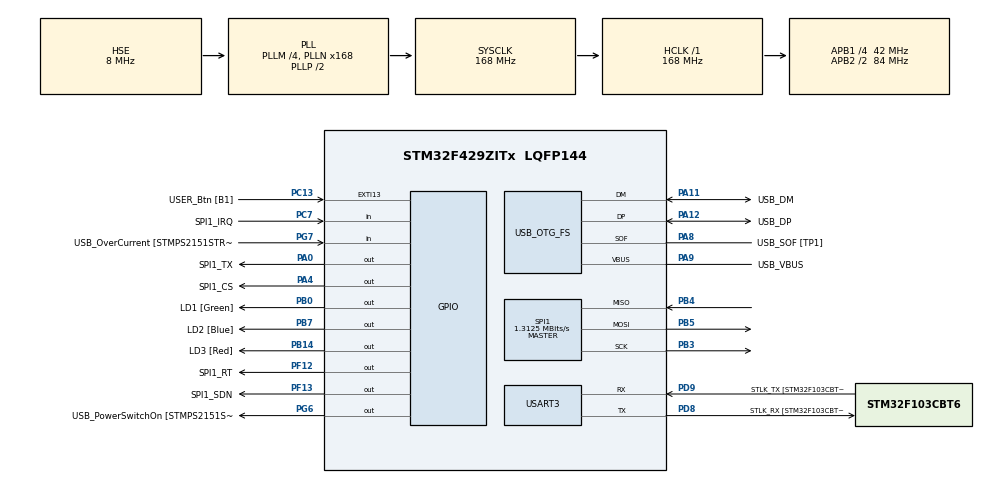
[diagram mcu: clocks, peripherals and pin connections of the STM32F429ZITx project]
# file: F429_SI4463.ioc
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Mcu.Family=STM32F4
Mcu.Name=STM32F429ZITx
Mcu.Package=LQFP144
NVIC.PriorityGroup=NVIC_PRIORITYGROUP_4
NVIC.TIM1_UP_TIM10_IRQn=true\:0\:0\:false\:false\:true\:true\:true\:true
PA0/WKUP.GPIO_Label=SPI1_TX
PA0/WKUP.Signal=GPIO_Output
PA10.GPIO_Label=USB_ID
PA10.Signal=USB_OTG_FS_ID
PA11.GPIO_Label=USB_DM
PA11.Mode=Device_Only
PA11.Signal=USB_OTG_FS_DM
PA12.GPIO_Label=USB_DP
PA12.Mode=Device_Only
PA12.Signal=USB_OTG_FS_DP
PA13.GPIO_Label=TMS
PA13.Mode=Serial_Wire
PA13.Signal=SYS_JTMS-SWDIO
PA14.GPIO_Label=TCK
PA14.Mode=Serial_Wire
PA14.Signal=SYS_JTCK-SWCLK
PA4.GPIO_Label=SPI1_CS
PA4.Signal=GPIO_Output
PA8.GPIO_Label=USB_SOF [TP1]
PA8.Mode=Activate_SOF_FS
PA8.Signal=USB_OTG_FS_SOF
PA9.GPIO_Label=USB_VBUS
PA9.Mode=Activate_VBUS
PA9.Signal=USB_OTG_FS_VBUS
PB0.GPIO_Label=LD1 [Green]
PB0.Signal=GPIO_Output
PB14.GPIO_Label=LD3 [Red]
PB14.Signal=GPIO_Output
PB3.Mode=Full_Duplex_Master
PB3.Signal=SPI1_SCK
PB4.Mode=Full_Duplex_Master
PB4.Signal=SPI1_MISO
PB5.Mode=Full_Duplex_Master
PB5.Signal=SPI1_MOSI
PB7.GPIO_Label=LD2 [Blue]
PB7.Signal=GPIO_Output
PC13.GPIO_Label=USER_Btn [B1]
PC13.Signal=GPXTI13
PC14/OSC32_IN.Mode=LSE-External-Oscillator
PC14/OSC32_IN.Signal=RCC_OSC32_IN
PC15/OSC32_OUT.Mode=LSE-External-Oscillator
PC15/OSC32_OUT.Signal=RCC_OSC32_OUT
PC7.GPIO_Label=SPI1_IRQ
PC7.GPIO_PuPd=GPIO_NOPULL
PC7.Signal=GPIO_Input
PD8.GPIO_Label=STLK_RX [STM32F103CBT6_PA3]
PD8.Mode=Asynchronous
PD8.Signal=USART3_TX
PD9.GPIO_Label=STLK_TX [STM32F103CBT6_PA2]
PD9.Mode=Asynchronous
PD9.Signal=USART3_RX
PF12.GPIO_Label=SPI1_RT
PF12.Signal=GPIO_Output
PF13.GPIO_Label=SPI1_SDN
PF13.Signal=GPIO_Output
PG6.GPIO_Label=USB_PowerSwitchOn [STMPS2151STR_EN]
PG6.Signal=GPIO_Output
PG7.GPIO_Label=USB_OverCurrent [STMPS2151STR_FAULT]
PG7.Signal=GPIO_Input
PH0/OSC_IN.GPIO_Label=MCO [STM32F103CBT6_PA8]
PH0/OSC_IN.Mode=HSE-External-Clock-Source
PH0/OSC_IN.Signal=RCC_OSC_IN
PH1/OSC_OUT.Mode=HSE-External-Clock-Source
PH1/OSC_OUT.Signal=RCC_OSC_OUT
ProjectManager.HeapSize=0x200
ProjectManager.StackSize=0x400
ProjectManager.TargetToolchain=STM32CubeIDE
RCC.48MHZClocksFreq_Value=48000000
RCC.AHBFreq_Value=168000000
RCC.APB1CLKDivider=RCC_HCLK_DIV4
RCC.APB1Freq_Value=42000000
RCC.APB1TimFreq_Value=84000000
RCC.APB2CLKDivider=RCC_HCLK_DIV2
RCC.APB2Freq_Value=84000000
RCC.APB2TimCLKDivider=2
RCC.APB2TimFreq_Value=168000000
RCC.CortexFreq_Value=168000000
RCC.HCLKFreq_Value=168000000
RCC.HSE_VALUE=8000000
RCC.HSI_VALUE=16000000
RCC.PLLM=4
RCC.PLLMUL=RCC_PLL_MUL9
RCC.PLLN=168
RCC.PLLQ=7
RCC.PRESCALERUSB=RCC_USBCLKSOURCE_PLL_DIV1_5
RCC.SYSCLKFreq_VALUE=168000000
RCC.SYSCLKSource=RCC_SYSCLKSOURCE_PLLCLK
RCC.SYSCLKSourceVirtual=RCC_SYSCLKSOURCE_PLLCLK
RCC.USBFreq_Value=48000000
RCC.VCOOutputFreq_Value=336000000
SPI1.BaudRatePrescaler=SPI_BAUDRATEPRESCALER_64
SPI1.CLKPhase=SPI_PHASE_1EDGE
SPI1.CLKPolarity=SPI_POLARITY_LOW
SPI1.CalculateBaudRate=1.3125 MBits/s
SPI1.Direction=SPI_DIRECTION_2LINES
SPI1.Mode=SPI_MODE_MASTER
SPI1.VirtualType=VM_MASTER
TIM1.Period=1000-1
TIM1.Prescaler=8400-1
USART3.VirtualMode=VM_ASYNC
USB_OTG_FS.VirtualMode=Device_Only
VP_TIM1_VS_ClockSourceINT.Mode=Internal
board=NUCLEO-F429ZI

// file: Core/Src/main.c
/* USER CODE BEGIN Header */
/**
 ******************************************************************************
 * @file           : main.c
 * @brief          : Main program body
 ******************************************************************************
 * @attention
 *
 * Copyright (c) 2022 STMicroelectronics.
 * All rights reserved.
 *
 * This software is licensed under terms that can be found in the LICENSE file
 * in the root directory of this software component.
 * If no LICENSE file comes with this software, it is provided AS-IS.
 *
 ******************************************************************************
 */
/* USER CODE END Header */
#include "main.h"

/* USER CODE BEGIN Includes */

#include "si4463.h"

/* USER CODE END Includes */

SPI_HandleTypeDef hspi1;

TIM_HandleTypeDef htim1;

UART_HandleTypeDef huart3;

PCD_HandleTypeDef hpcd_USB_OTG_FS;

void SystemClock_Config(void);
static void MX_GPIO_Init(void);
static void MX_USART3_UART_Init(void);
static void MX_USB_OTG_FS_PCD_Init(void);
static void MX_SPI1_Init(void);
static void MX_TIM1_Init(void);

/* USER CODE BEGIN 0 */

uint32_t adcVal = 0;
uint32_t gotData = 0;
uint8_t rxData[8] = { 0 };

/* USER CODE END 0 */

int main(void) {

    /* MCU Configuration--------------------------------------------------------*/

    /* Reset of all peripherals, Initializes the Flash interface and the Systick. */
    HAL_Init();

    /* Configure the system clock */
    SystemClock_Config();

    /* Initialize all configured peripherals */
    MX_GPIO_Init();
    MX_USART3_UART_Init();
    MX_USB_OTG_FS_PCD_Init();
    MX_SPI1_Init();
    MX_TIM1_Init();
    /* USER CODE BEGIN 2 */

    uint8_t data[] = "**** \r\n 1,2.3--mini--salamini--desinas--1.2,3 \r\n ";
    uint8_t txData[8] = "test1234";
    uint8_t cmd;

    // define SI4463 handle
    SI4463_StatusTypeDef retVal;
    SI4463_Handle SI4463_Handle = { 0 };

    // configure handle
    SI4463_Handle.spi = &hspi1;
    SI4463_Handle.SDNPort = SPI1_SDN_GPIO_Port;
    SI4463_Handle.SDNPin = SPI1_SDN_Pin;
    SI4463_Handle.CSPort = SPI1_CS_GPIO_Port;
    SI4463_Handle.CSPin = SPI1_CS_Pin;
    SI4463_Handle.GPIO0_Port = SPI1_RT_GPIO_Port;   // required for RTTY only
    SI4463_Handle.GPIO0_Pin = SPI1_RT_Pin;
    SI4463_Handle.freq = SI4463_FREQ_26MHZ;     // change to XIN frequency
    SI4463_Handle.baudDelay = 20;
    SI4463_Handle.power = 0;

    // RTTY 433,3 MHz
    // FSK 433,3 MHz
    // FSK has fixed 8 byte payload, for now
    // FSK uses internal CRC

    /* USER CODE END 2 */

    /* Infinite loop */
    /* USER CODE BEGIN WHILE */

    while (1) {

        // set required config (SI4463_CONFIG_RTTY for RTTY or SI4463_CONFIG_FSK for FSK or make your own)

        // set RTTY config
        SI4463_Handle.config = SI4463_CONFIG_RTTY;
        // try to initialise device
        retVal = SI4463_Init(&SI4463_Handle);
        // check if was able to initialise device
        if (retVal != SI4463_OK) {
            while (1);
        }
        // Send RTTY data
        SI4463_Transmit_RTTY(&SI4463_Handle, data, sizeof(data));

        HAL_Delay(500);

        // set FSK
        SI4463_Handle.config = SI4463_CONFIG_FSK;
        // reconfigure device
        retVal = SI4463_Init(&SI4463_Handle);
        // check if was successful
        if (retVal != SI4463_OK) {
            while (1);
        }

        // Send FSK data
        SI4463_Transmit_FSK(&SI4463_Handle, txData, 8, 100);

        HAL_Delay(500);

        // Receive FSK data
        SI4463_Receive_FSK(&SI4463_Handle, txData, 8, 100);

        HAL_Delay(500);

        /* USER CODE END WHILE */

    }
}

void SystemClock_Config(void) {
    RCC_OscInitTypeDef RCC_OscInitStruct = { 0 };
    RCC_ClkInitTypeDef RCC_ClkInitStruct = { 0 };

    /** Configure the main internal regulator output voltage
     */
    __HAL_RCC_PWR_CLK_ENABLE();
    __HAL_PWR_VOLTAGESCALING_CONFIG(PWR_REGULATOR_VOLTAGE_SCALE1);

    /** Initializes the RCC Oscillators according to the specified parameters
     * in the RCC_OscInitTypeDef structure.
     */
    RCC_OscInitStruct.OscillatorType = RCC_OSCILLATORTYPE_HSE;
    RCC_OscInitStruct.HSEState = RCC_HSE_BYPASS;
    RCC_OscInitStruct.PLL.PLLState = RCC_PLL_ON;
    RCC_OscInitStruct.PLL.PLLSource = RCC_PLLSOURCE_HSE;
    RCC_OscInitStruct.PLL.PLLM = 4;
    RCC_OscInitStruct.PLL.PLLN = 168;
    RCC_OscInitStruct.PLL.PLLP = RCC_PLLP_DIV2;
    RCC_OscInitStruct.PLL.PLLQ = 7;
    if (HAL_RCC_OscConfig(&RCC_OscInitStruct) != HAL_OK) {
        Error_Handler();
    }

    /** Initializes the CPU, AHB and APB buses clocks
     */
    RCC_ClkInitStruct.ClockType = RCC_CLOCKTYPE_HCLK | RCC_CLOCKTYPE_SYSCLK | RCC_CLOCKTYPE_PCLK1 | RCC_CLOCKTYPE_PCLK2;
    RCC_ClkInitStruct.SYSCLKSource = RCC_SYSCLKSOURCE_PLLCLK;
    RCC_ClkInitStruct.AHBCLKDivider = RCC_SYSCLK_DIV1;
    RCC_ClkInitStruct.APB1CLKDivider = RCC_HCLK_DIV4;
    RCC_ClkInitStruct.APB2CLKDivider = RCC_HCLK_DIV2;

    if (HAL_RCC_ClockConfig(&RCC_ClkInitStruct, FLASH_LATENCY_5) != HAL_OK) {
        Error_Handler();
    }
}

static void MX_SPI1_Init(void) {

    /* SPI1 parameter configuration*/
    hspi1.Instance = SPI1;
    hspi1.Init.Mode = SPI_MODE_MASTER;
    hspi1.Init.Direction = SPI_DIRECTION_2LINES;
    hspi1.Init.DataSize = SPI_DATASIZE_8BIT;
    hspi1.Init.CLKPolarity = SPI_POLARITY_LOW;
    hspi1.Init.CLKPhase = SPI_PHASE_1EDGE;
    hspi1.Init.NSS = SPI_NSS_SOFT;
    hspi1.Init.BaudRatePrescaler = SPI_BAUDRATEPRESCALER_64;
    hspi1.Init.FirstBit = SPI_FIRSTBIT_MSB;
    hspi1.Init.TIMode = SPI_TIMODE_DISABLE;
    hspi1.Init.CRCCalculation = SPI_CRCCALCULATION_DISABLE;
    hspi1.Init.CRCPolynomial = 10;
    if (HAL_SPI_Init(&hspi1) != HAL_OK) {
        Error_Handler();
    }

}

static void MX_TIM1_Init(void) {

    TIM_ClockConfigTypeDef sClockSourceConfig = { 0 };
    TIM_MasterConfigTypeDef sMasterConfig = { 0 };

    htim1.Instance = TIM1;
    htim1.Init.Prescaler = 8400 - 1;
    htim1.Init.CounterMode = TIM_COUNTERMODE_UP;
    htim1.Init.Period = 1000 - 1;
    htim1.Init.ClockDivision = TIM_CLOCKDIVISION_DIV1;
    htim1.Init.RepetitionCounter = 0;
    htim1.Init.AutoReloadPreload = TIM_AUTORELOAD_PRELOAD_DISABLE;
    if (HAL_TIM_Base_Init(&htim1) != HAL_OK) {
        Error_Handler();
    }
    sClockSourceConfig.ClockSource = TIM_CLOCKSOURCE_INTERNAL;
    if (HAL_TIM_ConfigClockSource(&htim1, &sClockSourceConfig) != HAL_OK) {
        Error_Handler();
    }
    sMasterConfig.MasterOutputTrigger = TIM_TRGO_RESET;
    sMasterConfig.MasterSlaveMode = TIM_MASTERSLAVEMODE_DISABLE;
    if (HAL_TIMEx_MasterConfigSynchronization(&htim1, &sMasterConfig) != HAL_OK) {
        Error_Handler();
    }
    /* USER CODE BEGIN TIM1_Init 2 */

    HAL_TIM_Base_Start_IT(&htim1);

    /* USER CODE END TIM1_Init 2 */

}

static void MX_USART3_UART_Init(void) {

    huart3.Instance = USART3;
    huart3.Init.BaudRate = 115200;
    huart3.Init.WordLength = UART_WORDLENGTH_8B;
    huart3.Init.StopBits = UART_STOPBITS_1;
    huart3.Init.Parity = UART_PARITY_NONE;
    huart3.Init.Mode = UART_MODE_TX_RX;
    huart3.Init.HwFlowCtl = UART_HWCONTROL_NONE;
    huart3.Init.OverSampling = UART_OVERSAMPLING_16;
    if (HAL_UART_Init(&huart3) != HAL_OK) {
        Error_Handler();
    }

}

static void MX_USB_OTG_FS_PCD_Init(void) {

    hpcd_USB_OTG_FS.Instance = USB_OTG_FS;
    hpcd_USB_OTG_FS.Init.dev_endpoints = 4;
    hpcd_USB_OTG_FS.Init.speed = PCD_SPEED_FULL;
    hpcd_USB_OTG_FS.Init.dma_enable = DISABLE;
    hpcd_USB_OTG_FS.Init.phy_itface = PCD_PHY_EMBEDDED;
    hpcd_USB_OTG_FS.Init.Sof_enable = ENABLE;
    hpcd_USB_OTG_FS.Init.low_power_enable = DISABLE;
    hpcd_USB_OTG_FS.Init.lpm_enable = DISABLE;
    hpcd_USB_OTG_FS.Init.vbus_sensing_enable = ENABLE;
    hpcd_USB_OTG_FS.Init.use_dedicated_ep1 = DISABLE;
    if (HAL_PCD_Init(&hpcd_USB_OTG_FS) != HAL_OK) {
        Error_Handler();
    }

}

static void MX_GPIO_Init(void) {
    GPIO_InitTypeDef GPIO_InitStruct = { 0 };

    /* GPIO Ports Clock Enable */
    __HAL_RCC_GPIOC_CLK_ENABLE();
    __HAL_RCC_GPIOH_CLK_ENABLE();
    __HAL_RCC_GPIOA_CLK_ENABLE();
    __HAL_RCC_GPIOB_CLK_ENABLE();
    __HAL_RCC_GPIOF_CLK_ENABLE();
    __HAL_RCC_GPIOD_CLK_ENABLE();
    __HAL_RCC_GPIOG_CLK_ENABLE();

    /*Configure GPIO pin Output Level */
    HAL_GPIO_WritePin(GPIOA, SPI1_TX_Pin | SPI1_CS_Pin, GPIO_PIN_RESET);

    /*Configure GPIO pin Output Level */
    HAL_GPIO_WritePin(GPIOB, LD1_Pin | LD3_Pin | LD2_Pin, GPIO_PIN_RESET);

    /*Configure GPIO pin Output Level */
    HAL_GPIO_WritePin(GPIOF, SPI1_RT_Pin | SPI1_SDN_Pin, GPIO_PIN_RESET);

    /*Configure GPIO pin Output Level */
    HAL_GPIO_WritePin(USB_PowerSwitchOn_GPIO_Port, USB_PowerSwitchOn_Pin, GPIO_PIN_RESET);

    /*Configure GPIO pin : USER_Btn_Pin */
    GPIO_InitStruct.Pin = USER_Btn_Pin;
    GPIO_InitStruct.Mode = GPIO_MODE_IT_RISING;
    GPIO_InitStruct.Pull = GPIO_NOPULL;
    HAL_GPIO_Init(USER_Btn_GPIO_Port, &GPIO_InitStruct);

    /*Configure GPIO pins : SPI1_TX_Pin SPI1_CS_Pin */
    GPIO_InitStruct.Pin = SPI1_TX_Pin | SPI1_CS_Pin;
    GPIO_InitStruct.Mode = GPIO_MODE_OUTPUT_PP;
    GPIO_InitStruct.Pull = GPIO_NOPULL;
    GPIO_InitStruct.Speed = GPIO_SPEED_FREQ_LOW;
    HAL_GPIO_Init(GPIOA, &GPIO_InitStruct);

    /*Configure GPIO pins : LD1_Pin LD3_Pin LD2_Pin */
    GPIO_InitStruct.Pin = LD1_Pin | LD3_Pin | LD2_Pin;
    GPIO_InitStruct.Mode = GPIO_MODE_OUTPUT_PP;
    GPIO_InitStruct.Pull = GPIO_NOPULL;
    GPIO_InitStruct.Speed = GPIO_SPEED_FREQ_LOW;
    HAL_GPIO_Init(GPIOB, &GPIO_InitStruct);

    /*Configure GPIO pins : SPI1_RT_Pin SPI1_SDN_Pin */
    GPIO_InitStruct.Pin = SPI1_RT_Pin | SPI1_SDN_Pin;
    GPIO_InitStruct.Mode = GPIO_MODE_OUTPUT_PP;
    GPIO_InitStruct.Pull = GPIO_NOPULL;
    GPIO_InitStruct.Speed = GPIO_SPEED_FREQ_LOW;
    HAL_GPIO_Init(GPIOF, &GPIO_InitStruct);

    /*Configure GPIO pin : USB_PowerSwitchOn_Pin */
    GPIO_InitStruct.Pin = USB_PowerSwitchOn_Pin;
    GPIO_InitStruct.Mode = GPIO_MODE_OUTPUT_PP;
    GPIO_InitStruct.Pull = GPIO_NOPULL;
    GPIO_InitStruct.Speed = GPIO_SPEED_FREQ_LOW;
    HAL_GPIO_Init(USB_PowerSwitchOn_GPIO_Port, &GPIO_InitStruct);

    /*Configure GPIO pin : USB_OverCurrent_Pin */
    GPIO_InitStruct.Pin = USB_OverCurrent_Pin;
    GPIO_InitStruct.Mode = GPIO_MODE_INPUT;
    GPIO_InitStruct.Pull = GPIO_NOPULL;
    HAL_GPIO_Init(USB_OverCurrent_GPIO_Port, &GPIO_InitStruct);

    /*Configure GPIO pin : SPI1_IRQ_Pin */
    GPIO_InitStruct.Pin = SPI1_IRQ_Pin;
    GPIO_InitStruct.Mode = GPIO_MODE_INPUT;
    GPIO_InitStruct.Pull = GPIO_NOPULL;
    HAL_GPIO_Init(SPI1_IRQ_GPIO_Port, &GPIO_InitStruct);

}

/* USER CODE BEGIN 4 */

uint32_t avg = 0;
uint32_t cnt = 0;
uint32_t startTime = 1000;
uint32_t delay = 1000;

void Timer_CallBack() {
    if (startTime < HAL_GetTick()) {
        startTime = HAL_GetTick() + delay;
        avg = cnt;
        cnt = 0;
    }
    cnt++;
    if (adcVal > 128) {
        HAL_GPIO_WritePin(LD3_GPIO_Port, LD3_Pin, GPIO_PIN_SET);
    } else {
        HAL_GPIO_WritePin(LD3_GPIO_Port, LD3_Pin, GPIO_PIN_RESET);
    }
}

/* USER CODE END 4 */

void Error_Handler(void) {
    __disable_irq();
    while (1) {
    }
}
